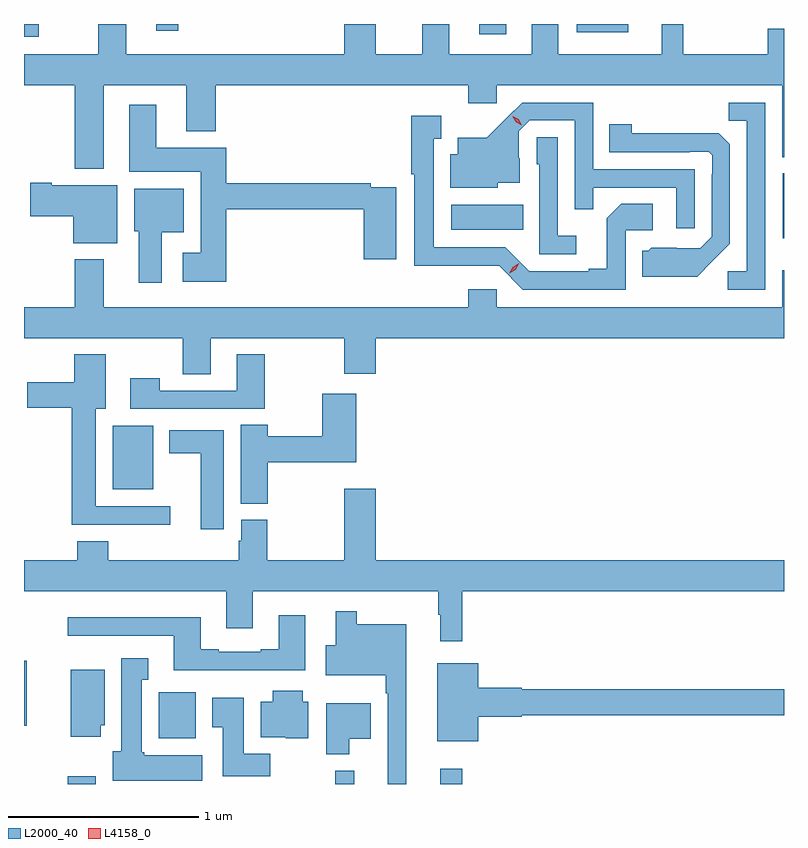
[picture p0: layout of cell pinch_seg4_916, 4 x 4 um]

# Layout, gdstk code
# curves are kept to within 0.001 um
import gdstk
lib = gdstk.Library(unit=1e-6, precision=1e-09)
def R(c, l, rs):  # rectangles x0, y0, x1, y1
    for r in rs: c.add(gdstk.rectangle(r[:2], r[2:], *l))
def P(c, l, *ps):  # polygons
    for p in ps: c.add(gdstk.Polygon(p, *l))
L2000_40 = (2000, 40)
L4158_0 = (4158, 0)

pinch_seg4_916 = lib.new_cell('pinch_seg4_916')
R(pinch_seg4_916, L2000_40, [(667.048,798.47,667.195,798.511), (668.456,798.47,668.555,798.541), (669.008,798.47,669.125,798.55), (667.526,798.71,667.723,798.952), (666.818,798.776,666.832,799.12), (667.286,800.021,667.498,800.356), (670.811,801.342,670.818,801.685), (669.066,801.386,669.446,801.52), (666.818,802.404,666.896,802.47), (669.215,802.416,669.355,802.47), (669.728,802.427,669.997,802.47), (667.514,802.434,667.631,802.47)])
P(pinch_seg4_916, L2000_40, [(669.155,802.053),(669.306,802.053),(669.306,802.148),(670.808,802.148),(670.808,801.77),(670.818,801.77),(670.818,802.444),(670.732,802.444),(670.732,802.312),(670.289,802.312),(670.289,802.47),(670.175,802.47),(670.175,802.312),(669.631,802.312),(669.631,802.47),(669.491,802.47),(669.491,802.312),(669.055,802.312),(669.055,802.47),(668.915,802.47),(668.915,802.312),(668.668,802.312),(668.668,802.47),(668.504,802.47),(668.504,802.312),(667.357,802.312),(667.357,802.47),(667.21,802.47),(667.21,802.312),(666.818,802.312),(666.818,802.148),(667.085,802.148),(667.085,801.707),(667.237,801.707),(667.237,802.148),(667.673,802.148),(667.673,801.905),(667.826,801.905),(667.826,802.148),(669.155,802.148)],
  [(670.347,801.705),(669.813,801.705),(669.813,802.056),(669.44,802.056),(669.253,801.871),(669.101,801.871),(669.101,801.784),(669.062,801.784),(669.062,801.608),(669.312,801.608),(669.312,801.635),(669.427,801.635),(669.427,801.764),(669.423,801.764),(669.423,801.906),(669.48,801.963),(669.717,801.963),(669.717,801.496),(669.815,801.496),(669.815,801.609),(670.251,801.609),(670.251,801.396),(670.347,801.396)],
  [(670.719,802.056),(670.528,802.056),(670.528,801.961),(670.623,801.961),(670.623,801.168),(670.521,801.168),(670.521,801.072),(670.719,801.072)],
  [(667.883,801.496),(668.606,801.496),(668.606,801.231),(668.776,801.231),(668.776,801.612),(668.642,801.612),(668.642,801.632),(667.883,801.632),(667.883,801.82),(667.513,801.82),(667.513,802.045),(667.373,802.045),(667.373,801.692),(667.748,801.692),(667.748,801.265),(667.653,801.265),(667.653,801.113),(667.883,801.113)],
  [(669.984,801.384),(670.126,801.384),(670.126,801.524),(669.961,801.524),(669.885,801.448),(669.885,801.181),(669.791,801.181),(669.791,801.168),(669.477,801.168),(669.351,801.294),(668.974,801.294),(668.974,801.867),(669.013,801.867),(669.013,801.988),(668.856,801.988),(668.856,801.679),(668.873,801.679),(668.873,801.197),(669.318,801.198),(669.444,801.072),(669.984,801.072)],
  [(670.441,801.221),(670.533,801.314),(670.533,801.836),(670.474,801.895),(670.017,801.896),(670.017,801.943),(669.898,801.943),(669.898,801.795),(670.322,801.795),(670.322,801.798),(670.422,801.798),(670.44,801.78),(670.44,801.68),(670.437,801.68),(670.437,801.351),(670.377,801.291),(670.12,801.292),(670.104,801.276),(670.073,801.276),(670.073,801.14),(670.361,801.14)],
  [(669.724,801.355),(669.627,801.355),(669.627,801.875),(669.516,801.875),(669.516,801.732),(669.531,801.732),(669.531,801.258),(669.724,801.258)],
  [(667.309,801.622),(666.964,801.622),(666.964,801.635),(666.852,801.635),(666.852,801.457),(667.076,801.457),(667.076,801.317),(667.309,801.317)],
  [(667.543,801.374),(667.66,801.374),(667.66,801.604),(667.397,801.604),(667.397,801.378),(667.421,801.378),(667.421,801.108),(667.543,801.108)],
  [(667.801,800.816),(668.504,800.816),(668.504,800.628),(668.668,800.628),(668.668,800.816),(670.818,800.816),(670.818,801.175),(670.808,801.175),(670.808,800.98),(669.306,800.98),(669.306,801.073),(669.155,801.073),(669.155,800.98),(667.237,800.98),(667.237,801.232),(667.085,801.232),(667.085,800.98),(666.818,800.98),(666.818,800.816),(667.654,800.816),(667.654,800.626),(667.801,800.626)],
  [(667.588,799.932),(667.195,799.932),(667.195,800.444),(667.249,800.444),(667.249,800.731),(667.082,800.731),(667.082,800.584),(666.834,800.584),(666.834,800.45),(667.07,800.45),(667.07,799.835),(667.588,799.835)],
  [(668.085,800.731),(667.937,800.731),(667.937,800.541),(667.533,800.541),(667.533,800.605),(667.377,800.605),(667.377,800.445),(668.085,800.445)],
  [(668.1,800.164),(668.567,800.164),(668.567,800.524),(668.389,800.524),(668.389,800.3),(668.1,800.3),(668.1,800.36),(667.958,800.36),(667.958,799.945),(668.1,799.945)],
  [(667.87,800.332),(667.583,800.332),(667.583,800.21),(667.748,800.21),(667.748,799.812),(667.87,799.812)],
  [(669.125,799.484),(670.818,799.484),(670.818,799.648),(668.668,799.648),(668.668,800.023),(668.504,800.023),(668.504,799.648),(668.097,799.648),(668.097,799.86),(667.961,799.86),(667.961,799.749),(667.949,799.749),(667.949,799.648),(667.262,799.648),(667.262,799.747),(667.097,799.747),(667.097,799.648),(666.818,799.648),(666.818,799.484),(667.883,799.484),(667.883,799.29),(668.023,799.29),(668.023,799.484),(668.997,799.484),(668.997,799.361),(669.008,799.361),(669.008,799.221),(669.125,799.221)],
  [(668.83,799.312),(668.569,799.312),(668.569,799.378),(668.459,799.378),(668.459,799.201),(668.406,799.201),(668.406,799.043),(668.721,799.043),(668.721,798.947),(668.733,798.947),(668.733,798.47),(668.83,798.47)],
  [(668.299,799.357),(668.159,799.357),(668.159,799.18),(668.063,799.18),(668.063,799.167),(667.843,799.167),(667.843,799.18),(667.747,799.18),(667.747,799.348),(667.047,799.348),(667.047,799.251),(667.607,799.251),(667.607,799.07),(668.299,799.07)],
  [(667.756,798.622),(667.452,798.622),(667.452,798.636),(667.438,798.636),(667.438,799.019),(667.471,799.019),(667.471,799.132),(667.331,799.132),(667.331,798.642),(667.286,798.642),(667.286,798.488),(667.756,798.488)],
  [(669.208,798.824),(669.438,798.824),(669.438,798.832),(670.818,798.832),(670.818,798.968),(669.438,798.968),(669.438,798.976),(669.208,798.976),(669.208,799.105),(668.993,799.105),(668.993,798.695),(669.208,798.695)],
  [(667.222,798.78),(667.243,798.78),(667.243,799.072),(667.064,799.072),(667.064,798.72),(667.222,798.72)],
  [(668.314,798.904),(668.284,798.904),(668.284,798.961),(668.126,798.961),(668.126,798.904),(668.063,798.904),(668.063,798.716),(668.196,798.716),(668.196,798.71),(668.314,798.71)],
  [(668.114,798.628),(667.975,798.628),(667.975,798.925),(667.808,798.925),(667.808,798.769),(667.865,798.769),(667.865,798.51),(668.114,798.51)],
  [(668.53,798.707),(668.644,798.707),(668.644,798.895),(668.408,798.895),(668.408,798.626),(668.53,798.626)])
P(pinch_seg4_916, L4158_0, [(669.438,801.937),(669.408,801.953),(669.391,801.983),(669.391,801.984),(669.391,801.984),(669.422,801.968),(669.439,801.938),(669.439,801.937)],
  [(669.373,801.157),(669.373,801.158),(669.39,801.19),(669.421,801.21),(669.422,801.21),(669.422,801.21),(669.405,801.177),(669.373,801.157)])

lib.write_gds('pinch_seg4_916.gds')
